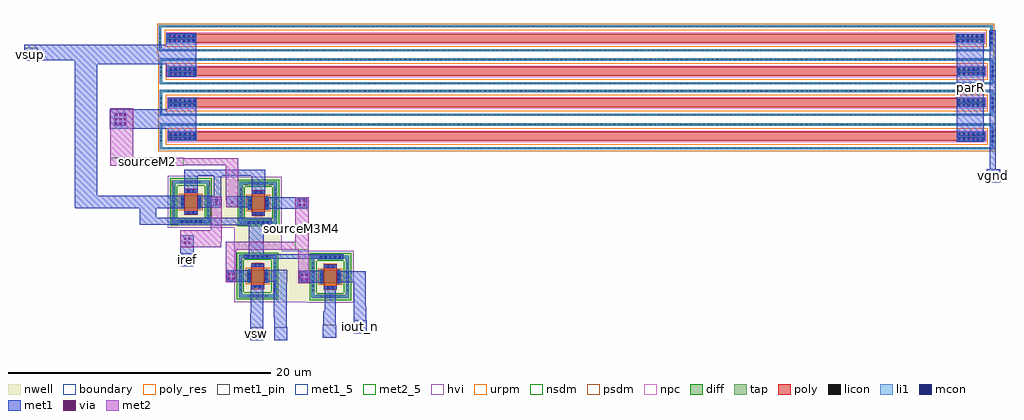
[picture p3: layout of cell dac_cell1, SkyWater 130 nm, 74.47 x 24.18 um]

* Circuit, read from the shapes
.subckt dac_cell1 iout iout_n iref parR sourceM2 sourceM3M4 vbias vgnd vsup vsw
XM1 iref iref vsup vsup sky130_fd_pr__pfet_g5v0d10v5 w=1 l=1
XM2 iout vsw sourceM3M4 vsup sky130_fd_pr__pfet_g5v0d10v5 w=1 l=1
XM3 sourceM3M4 iref sourceM2 vsup sky130_fd_pr__pfet_g5v0d10v5 w=1 l=1
XM4 iout_n vbias sourceM3M4 vsup sky130_fd_pr__pfet_g5v0d10v5 w=1 l=1
XR5 parR vsup vgnd sky130_fd_pr__res_xhigh_po w=0.69 l=58 m=2
XR6 parR sourceM2 vgnd sky130_fd_pr__res_xhigh_po w=0.69 l=58 m=2
.ends

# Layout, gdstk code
from math import pi, radians
import gdstk
lib = gdstk.Library(unit=1e-6, precision=1e-09)
def R(c, l, rs):  # rectangles x0, y0, x1, y1
    for r in rs: c.add(gdstk.rectangle(r[:2], r[2:], *l))
def A(c, l, x, y, w, h, nx, ny, dx, dy):  # array of equal rectangles
    R(c, l, [(x+i*dx, y+j*dy, x+i*dx+w, y+j*dy+h) for i in range(nx) for j in range(ny)])
nwell = (64, 20)
diff = (65, 20)
tap = (65, 44)
poly_res = (66, 13)
poly = (66, 20)
licon = (66, 44)
li1 = (67, 20)
mcon = (67, 44)
met1_5 = (68, 5)
met1_pin = (68, 16)
met1 = (68, 20)
via = (68, 44)
met2_5 = (69, 5)
met2 = (69, 20)
hvi = (75, 20)
urpm = (79, 20)
nsdm = (93, 44)
psdm = (94, 20)
npc = (95, 20)
boundary = (235, 4)

sky130_fd_pr__res_xhigh_ = lib.new_cell('sky130_fd_pr__res_xhigh_po_0p69_MS44J6')
R(sky130_fd_pr__res_xhigh_, tap, [(-0.995,-31.81,0.995,-31.64), (-0.995,-31.64,-0.825,31.64), (0.825,-31.64,0.995,31.64), (-0.995,31.64,0.995,31.81)])
R(sky130_fd_pr__res_xhigh_, poly_res, [(-0.345,-29.06,0.345,29.06)])
R(sky130_fd_pr__res_xhigh_, poly, [(-0.345,-31.16,0.345,31.16)])
A(sky130_fd_pr__res_xhigh_, licon, -0.425, -31.81, 0.17, 0.17, 3, 2, 0.34, 63.45)
A(sky130_fd_pr__res_xhigh_, licon, -0.995, -31.195, 0.17, 0.17, 1, 184, 0, 0.34)
A(sky130_fd_pr__res_xhigh_, licon, 0.825, -31.195, 0.17, 0.17, 1, 184, 0, 0.34)
R(sky130_fd_pr__res_xhigh_, licon, [(-0.095,-31.08,0.095,-29.08), (-0.095,29.08,0.095,31.08)])
R(sky130_fd_pr__res_xhigh_, li1, [(-0.995,-31.81,0.995,-31.64), (-0.995,-31.64,-0.825,31.64), (0.825,-31.64,0.995,31.64), (-0.345,-31.16,0.345,-29), (-0.345,29,0.345,31.16), (-0.995,31.64,0.995,31.81)])
A(sky130_fd_pr__res_xhigh_, mcon, -0.265, -31.065, 0.17, 0.17, 1, 6, 0, 0.36)
A(sky130_fd_pr__res_xhigh_, mcon, 0.095, -31.065, 0.17, 0.17, 1, 6, 0, 0.36)
A(sky130_fd_pr__res_xhigh_, mcon, -0.265, 29.09, 0.17, 0.17, 1, 6, 0, 0.36)
A(sky130_fd_pr__res_xhigh_, mcon, 0.095, 29.09, 0.17, 0.17, 1, 6, 0, 0.36)
R(sky130_fd_pr__res_xhigh_, met1, [(-0.295,-31.13,0.295,-29.025), (-0.295,29.025,0.295,31.13)])
R(sky130_fd_pr__res_xhigh_, urpm, [(-0.635,-31.36,0.635,31.36)])
R(sky130_fd_pr__res_xhigh_, psdm, [(-1.12,-31.935,1.12,31.935)])
R(sky130_fd_pr__res_xhigh_, npc, [(-0.44,-31.255,0.44,31.255)])
R(sky130_fd_pr__res_xhigh_, boundary, [(-0.91,-31.725,0.91,31.725)])

sky130_fd_pr__pfet_g5v0d = lib.new_cell('sky130_fd_pr__pfet_g5v0d10v5_FGUWVM#0')
R(sky130_fd_pr__pfet_g5v0d, nwell, [(-1.79,-1.985,1.79,1.985)])
R(sky130_fd_pr__pfet_g5v0d, diff, [(-0.79,-0.5,0.79,0.5)])
R(sky130_fd_pr__pfet_g5v0d, tap, [(-1.46,-1.655,1.46,-1.365), (-1.46,-1.365,-1.17,1.365), (1.17,-1.365,1.46,1.365), (-1.46,1.365,1.46,1.655)])
R(sky130_fd_pr__pfet_g5v0d, poly, [(-0.5,-0.985,0.5,0.985)])
A(sky130_fd_pr__pfet_g5v0d, licon, -0.765, -1.595, 0.17, 0.17, 5, 2, 0.34, 3.02)
A(sky130_fd_pr__pfet_g5v0d, licon, -1.4, -1.105, 0.17, 0.17, 1, 7, 0, 0.34)
A(sky130_fd_pr__pfet_g5v0d, licon, 1.23, -1.105, 0.17, 0.17, 1, 7, 0, 0.34)
A(sky130_fd_pr__pfet_g5v0d, licon, -0.73, -0.425, 0.17, 0.17, 1, 3, 0, 0.34)
A(sky130_fd_pr__pfet_g5v0d, licon, 0.56, -0.425, 0.17, 0.17, 1, 3, 0, 0.34)
R(sky130_fd_pr__pfet_g5v0d, licon, [(-0.255,-0.905,-0.085,-0.735), (0.085,-0.905,0.255,-0.735), (-0.255,0.735,-0.085,0.905), (0.085,0.735,0.255,0.905)])
R(sky130_fd_pr__pfet_g5v0d, li1, [(-1.4,-1.595,1.4,-1.425), (-1.4,-1.425,-1.23,1.425), (1.23,-1.425,1.4,1.425), (-0.5,-0.905,0.5,-0.735), (-0.73,-0.52,-0.56,0.52), (0.56,-0.52,0.73,0.52), (-0.5,0.735,0.5,0.905), (-1.4,1.425,1.4,1.595)])
R(sky130_fd_pr__pfet_g5v0d, mcon, [(-0.265,-0.905,-0.095,-0.735), (0.095,-0.905,0.265,-0.735), (-0.73,-0.265,-0.56,-0.095), (0.56,-0.265,0.73,-0.095), (-0.73,0.095,-0.56,0.265), (0.56,0.095,0.73,0.265), (-0.265,0.735,-0.095,0.905), (0.095,0.735,0.265,0.905)])
R(sky130_fd_pr__pfet_g5v0d, met1, [(-0.48,-0.935,0.48,-0.705), (-0.76,-0.5,-0.53,0.5), (0.53,-0.5,0.76,0.5), (-0.48,0.705,0.48,0.935)])
R(sky130_fd_pr__pfet_g5v0d, hvi, [(-1.79,-1.985,1.79,1.985)])
R(sky130_fd_pr__pfet_g5v0d, nsdm, [(-1.585,-1.78,1.585,-1.24), (-1.585,-1.24,-1.045,1.24), (1.045,-1.24,1.585,1.24), (-1.585,1.24,1.585,1.78)])
R(sky130_fd_pr__pfet_g5v0d, psdm, [(-0.915,-0.625,0.915,0.625)])
R(sky130_fd_pr__pfet_g5v0d, npc, [(-0.355,-1.005,0.355,-0.635), (-0.355,0.635,0.355,1.005)])
R(sky130_fd_pr__pfet_g5v0d, boundary, [(-1.315,-1.51,1.315,1.51)])

dac_cell1 = lib.new_cell('dac_cell1')
R(dac_cell1, nwell, [(0.11,-6.25,2.07,-2.33), (0.11,-2.33,0.16,-2.28), (-3.47,-2.28,0.16,-0.67), (-3.47,-0.67,-3.42,-0.58), (-4.98,-0.58,-3.41,3.3)])
R(dac_cell1, li1, [(1.57,-4.71,2.19,-3.97), (-4,-4.63,-3.4,-3.91), (2.94,-2.89,4.78,-2.72), (-2.6,-2.84,-0.76,-2.67), (-2.56,-0.27,-0.69,-0.09), (-7.69,-0.18,-5.82,0), (1.34,0.96,2.06,1.69), (-5.07,1.1,-4.58,1.63), (54.31,5.88,54.48,6.92), (-12.61,7.21,-11.69,8.22), (54.29,8.44,54.48,9.47), (54.3,10.83,54.49,11.89), (54.21,13.37,54.42,14.42)])
A(dac_cell1, mcon, 3.055, -2.89, 0.17, 0.17, 5, 1, 0.36, 0)
A(dac_cell1, mcon, -2.485, -2.84, 0.17, 0.17, 5, 1, 0.36, 0)
A(dac_cell1, mcon, -2.43, -0.265, 0.17, 0.17, 5, 1, 0.36, 0)
A(dac_cell1, mcon, -7.56, -0.175, 0.17, 0.17, 5, 1, 0.36, 0)
A(dac_cell1, mcon, 54.31, 5.955, 0.17, 0.17, 1, 3, 0, 0.36)
A(dac_cell1, mcon, -12.595, 7.27, 0.17, 0.17, 3, 3, 0.36, 0.36)
A(dac_cell1, mcon, 54.3, 8.51, 0.17, 0.17, 1, 3, 0, 0.36)
A(dac_cell1, mcon, 54.31, 10.915, 0.17, 0.17, 1, 3, 0, 0.36)
A(dac_cell1, mcon, 54.23, 13.45, 0.17, 0.17, 1, 3, 0, 0.36)
R(dac_cell1, mcon, [(1.615,-4.605,1.785,-4.435), (1.975,-4.605,2.145,-4.435), (-3.965,-4.535,-3.795,-4.365), (-3.605,-4.535,-3.435,-4.365), (1.615,-4.245,1.785,-4.075), (1.975,-4.245,2.145,-4.075), (-3.965,-4.175,-3.795,-4.005), (-3.605,-4.175,-3.435,-4.005), (1.435,1.06,1.605,1.23), (1.795,1.06,1.965,1.23), (-4.91,1.1,-4.74,1.27), (1.435,1.42,1.605,1.59), (1.795,1.42,1.965,1.59), (-4.91,1.46,-4.74,1.63)])
R(dac_cell1, met1_5, [(51.65,5.98,53.72,14.24)])
R(dac_cell1, met1_pin, [(-2.24,-9.17,-1.24,-8.17), (-0.41,-9.17,0.59,-8.17), (3.3,-8.96,4.3,-7.96), (5.66,-8.64,6.66,-7.64), (-7.56,-3.5,-6.56,-2.5), (53.96,2.9,54.96,3.9), (-19.51,12.18,-18.51,13.18)])
R(dac_cell1, met1, [(-2.24,-9.17,-1.24,-8.17), (-0.43,-9.17,0.59,-8.17), (3.3,-8.96,4.3,-7.96), (5.66,-8.64,6.66,-7.64), (-2.23,-8.17,-1.27,-7.13), (-0.43,-8.17,0.53,-7.46), (3.31,-7.96,4.27,-6.94), (5.66,-7.64,6.62,-7.39), (-0.47,-7.46,0.55,-4.68), (5.64,-7.39,6.62,-6.62), (-2.19,-7.13,-1.27,-4.98), (3.43,-6.94,4.27,-5.03), (5.64,-6.62,6.56,-4.73), (1.5,-4.76,3.32,-3.87), (4.41,-4.73,6.56,-3.88), (-4.06,-4.71,-2.24,-3.82), (-1.12,-4.68,0.57,-3.82), (-0.47,-3.82,0.55,-3.79), (-7.56,-3.5,-6.56,-3.48), (-7.59,-3.48,-6.54,-1.16), (2.87,-2.98,4.84,-2.92), (-2.72,-2.95,-0.69,-2.92), (-2.72,-2.92,4.84,-2.62), (-2.72,-2.62,4.82,-2.59), (-2.72,-2.59,-0.69,-2.58), (-2.35,-2.58,-1.21,-0.38), (-7.74,-0.38,-0.64,-0.35), (-10.66,-0.35,-0.64,-0.34), (-10.66,-0.34,-0.62,-0.05), (-10.66,-0.05,-0.66,0.18), (-10.66,0.18,-9.43,0.92), (-1.08,0.88,2.12,1.76), (-15.59,0.92,-7.32,0.99), (-6.21,0.96,-4.45,1.88), (-4.07,0.98,-2.15,1.82), (-15.65,0.99,-7.32,1.88), (-15.65,1.88,-13.91,11.89), (-5.03,1.88,-4.45,3.4), (-2.15,2.03,-1.1,3.4), (-7.29,2.12,-6.24,3.4), (53.96,2.9,54.96,3.9), (-7.29,3.4,-1.09,3.85), (54.17,3.9,54.64,4.59), (54.19,4.59,54.63,6.11), (51.65,5.98,53.72,14.24), (-8.54,6.1,-6.36,6.98), (54.19,6.11,54.62,13.28), (-12.95,6.98,-6.36,8.47), (-8.54,8.47,-6.36,9.34), (-8.64,10.96,-6.38,11.89), (-15.65,11.89,-6.38,12.21), (-19.51,12.18,-18.51,12.21), (-19.51,12.21,-6.38,13.38), (54.13,13.28,54.62,14.5), (-8.64,13.38,-6.38,14.28), (54.19,14.5,54.62,14.51)])
A(dac_cell1, via, -12.545, 7.32, 0.15, 0.15, 3, 3, 0.32, 0.32)
R(dac_cell1, via, [(1.645,-4.575,1.795,-4.425), (1.965,-4.575,2.115,-4.425), (-3.935,-4.505,-3.785,-4.355), (-3.615,-4.505,-3.465,-4.355), (1.645,-4.255,1.795,-4.105), (1.965,-4.255,2.115,-4.105), (-3.935,-4.185,-3.785,-4.035), (-3.615,-4.185,-3.465,-4.035), (-7.285,-1.81,-7.135,-1.66), (-6.965,-1.81,-6.815,-1.66), (-7.285,-1.49,-7.135,-1.34), (-6.965,-1.49,-6.815,-1.34), (1.465,1.09,1.615,1.24), (1.785,1.09,1.935,1.24), (-4.9,1.29,-4.75,1.44), (-3.7,1.3,-3.55,1.45), (1.465,1.41,1.615,1.56), (1.785,1.41,1.935,1.56)])
R(dac_cell1, met2_5, [(1.17,-2.26,2.21,0.96), (-12.93,4.17,-7.31,4.76)])
R(dac_cell1, met2, [(1.43,-4.8,2.28,-3.87), (-4.11,-4.73,-3.33,-2.26), (1.43,-3.87,2.21,-2.26), (-4.11,-2.26,2.22,-1.64), (-7.59,-2.06,-4.46,-1.6), (1.17,-1.64,2.21,1.76), (-7.59,-1.6,-4.44,-0.77), (-5.25,-0.77,-4.44,1.79), (-4.07,0.98,-3.19,1.53), (-4.1,1.53,-3.19,1.96), (-4.1,1.96,-3.18,4.18), (-12.93,4.15,-11.16,4.17), (-12.93,4.17,-7.31,4.18), (-12.93,4.18,-3.18,4.73), (-12.93,4.73,-7.31,4.76), (-12.93,4.76,-11.16,8.53)])
R(dac_cell1, hvi, [(0.11,-6.25,2.07,-2.33), (0.11,-2.33,0.16,-2.28), (-3.47,-2.28,0.16,-0.67), (-3.47,-0.67,-3.42,-0.58), (-4.98,-0.58,-3.42,3.3)])
R(dac_cell1, psdm, [(-9.265,7.515,54.595,7.835), (-9.265,10.075,54.595,10.235), (-9.265,12.475,54.525,12.765)])
dac_cell1.add(gdstk.Reference(sky130_fd_pr__res_xhigh_, (22.59,13.885), rotation=pi/2))
dac_cell1.add(gdstk.Reference(sky130_fd_pr__res_xhigh_, (22.67,11.355), rotation=pi/2))
dac_cell1.add(gdstk.Reference(sky130_fd_pr__res_xhigh_, (22.66,8.955), rotation=pi/2))
dac_cell1.add(gdstk.Reference(sky130_fd_pr__res_xhigh_, (22.67,6.395), rotation=pi/2))
dac_cell1.add(gdstk.Reference(sky130_fd_pr__pfet_g5v0d, (3.86,-4.315)))
dac_cell1.add(gdstk.Reference(sky130_fd_pr__pfet_g5v0d, (-1.68,-4.265)))
dac_cell1.add(gdstk.Reference(sky130_fd_pr__pfet_g5v0d, (-1.63,1.315)))
dac_cell1.add(gdstk.Reference(sky130_fd_pr__pfet_g5v0d, (-6.77,1.405)))
dac_cell1.add(gdstk.Label('parR', (52.685,10.11), layer=68, texttype=5))
dac_cell1.add(gdstk.Label('sourceM3M4', (1.69,-0.65), layer=69, texttype=5))
dac_cell1.add(gdstk.Label('sourceM2', (-10.12,4.465), layer=69, texttype=5))
dac_cell1.add(gdstk.Label('vsup', (-19.01,12.68), layer=68, texttype=16))
dac_cell1.add(gdstk.Label('vgnd', (54.46,3.4), layer=68, texttype=16))
dac_cell1.add(gdstk.Label('iref', (-7.06,-3), layer=68, texttype=16))
dac_cell1.add(gdstk.Label('vsw', (-1.74,-8.67), layer=68, texttype=16))
dac_cell1.add(gdstk.Label('iout', (0.09,-8.67), layer=68, texttype=16))
dac_cell1.add(gdstk.Label('iout_n', (6.16,-8.14), layer=68, texttype=16))
dac_cell1.add(gdstk.Label('vbias', (3.8,-8.46), layer=68, texttype=16))

lib.write_gds('dac_cell1.gds')
